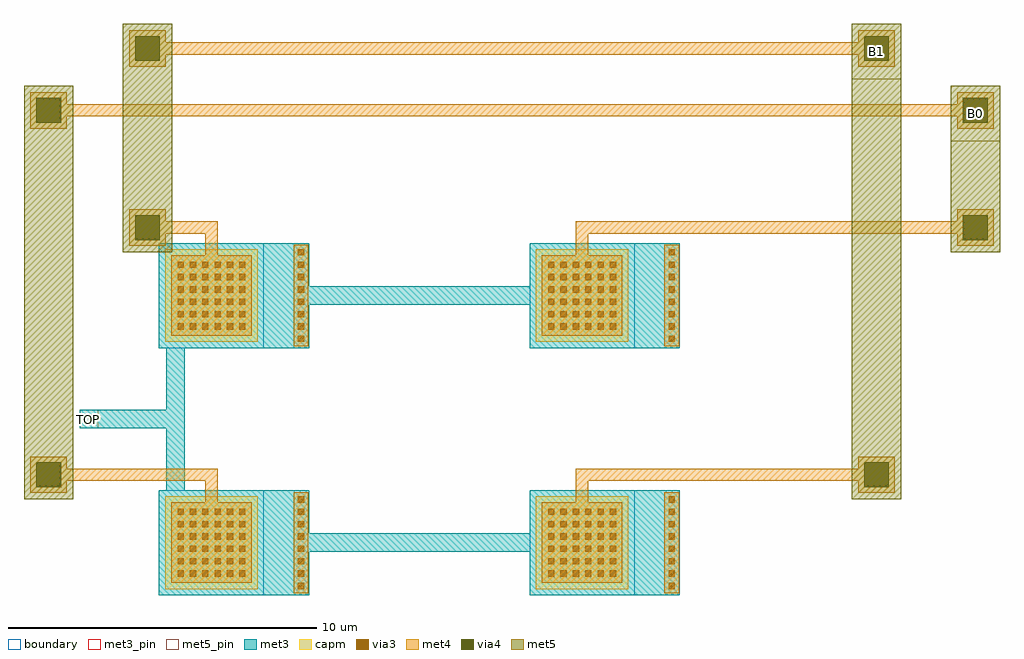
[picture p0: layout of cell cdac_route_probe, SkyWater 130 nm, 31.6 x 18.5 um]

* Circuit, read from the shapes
.subckt cdac_route_probe B0 B1 TOP
XC1 B0 TOP sky130_fd_pr__cap_mim_m3_1 w=3 l=3 m=2
XC2 B1 TOP sky130_fd_pr__cap_mim_m3_1 w=3 l=3 m=2
.ends

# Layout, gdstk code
import gdstk
lib = gdstk.Library(unit=1e-6, precision=1e-09)
def R(c, l, rs):  # rectangles x0, y0, x1, y1
    for r in rs: c.add(gdstk.rectangle(r[:2], r[2:], *l))
def A(c, l, x, y, w, h, nx, ny, dx, dy):  # array of equal rectangles
    R(c, l, [(x+i*dx, y+j*dy, x+i*dx+w, y+j*dy+h) for i in range(nx) for j in range(ny)])
met3_pin = (70, 16)
met3 = (70, 20)
via3 = (70, 44)
met4 = (71, 20)
via4 = (71, 44)
met5_pin = (72, 16)
met5 = (72, 20)
capm = (89, 44)
boundary = (235, 4)

mim_unit = lib.new_cell('mim_unit')
R(mim_unit, met3, [(-2.43,-1.7,2.43,1.7)])
A(mim_unit, via3, 2.07, -1.5, 0.2, 0.2, 1, 8, 0, 0.4)
A(mim_unit, via3, -1.83, -1.1, 0.2, 0.2, 6, 6, 0.4, 0.4)
R(mim_unit, met4, [(1.93,-1.64,2.41,1.64), (-2.035,-1.305,0.575,1.305)])
R(mim_unit, capm, [(-2.23,-1.5,0.77,1.5)])
R(mim_unit, boundary, [(-2.43,-1.7,0.97,1.7)])
mim_unit.add(gdstk.Label('C2', (2.17,0), layer=71, texttype=5))
mim_unit.add(gdstk.Label('C1', (-0.73,0), layer=71, texttype=5))

cdac_route_probe = lib.new_cell('cdac_route_probe')
R(cdac_route_probe, met3_pin, [(-5,3.7,-4.4,4.3)])
R(cdac_route_probe, met3, [(-2.2,-0.3,14.3,0.3), (-2.2,0.3,-1.6,3.7), (-5,3.7,-1.6,4.3), (-2.2,4.3,-1.6,7.7), (-2.2,7.7,14.3,8.3)])
R(cdac_route_probe, met4, [(-0.93,-0.2,-0.53,2), (11.07,-0.2,11.47,2), (-6.59,1.61,-5.41,2), (20.21,1.61,21.39,2), (-6.59,2,-0.53,2.4), (11.07,2,21.39,2.4), (-6.59,2.4,-5.41,2.79), (20.21,2.4,21.39,2.79), (-0.93,7.8,-0.53,10), (11.07,7.8,11.47,10), (-3.39,9.61,-2.21,10), (23.41,9.61,24.59,10), (-3.39,10,-0.53,10.4), (11.07,10,24.59,10.4), (-3.39,10.4,-2.21,10.79), (23.41,10.4,24.59,10.79), (-6.59,13.41,-5.41,13.8), (23.41,13.41,24.59,13.8), (-6.59,13.8,24.59,14.2), (-6.59,14.2,-5.41,14.59), (23.41,14.2,24.59,14.59), (-3.39,15.41,-2.21,15.8), (20.21,15.41,21.39,15.8), (-3.39,15.8,21.39,16.2), (-3.39,16.2,-2.21,16.59), (20.21,16.2,21.39,16.59)])
R(cdac_route_probe, via4, [(-6.4,1.8,-5.6,2.6), (20.4,1.8,21.2,2.6), (-3.2,9.8,-2.4,10.6), (23.6,9.8,24.4,10.6), (-6.4,13.6,-5.6,14.4), (23.6,13.6,24.4,14.4), (-3.2,15.6,-2.4,16.4), (20.4,15.6,21.2,16.4)])
R(cdac_route_probe, met5_pin, [(23.2,13,24.8,14.8), (20,15,21.6,16.8)])
R(cdac_route_probe, met5, [(-6.8,1.4,-5.2,14.8), (20,1.4,21.6,16.8), (-3.6,9.4,-2,16.8), (23.2,9.4,24.8,14.8)])
cdac_route_probe.add(gdstk.Reference(mim_unit, (12,8)))
cdac_route_probe.add(gdstk.Reference(mim_unit, (0,8)))
cdac_route_probe.add(gdstk.Reference(mim_unit, (12,0)))
cdac_route_probe.add(gdstk.Reference(mim_unit, (0,0)))
cdac_route_probe.add(gdstk.Label('TOP', (-4.7,4), layer=70, texttype=5))
cdac_route_probe.add(gdstk.Label('B0', (24,13.9), layer=72, texttype=5))
cdac_route_probe.add(gdstk.Label('B1', (20.8,15.9), layer=72, texttype=5))

lib.write_gds('cdac_route_probe.gds')
